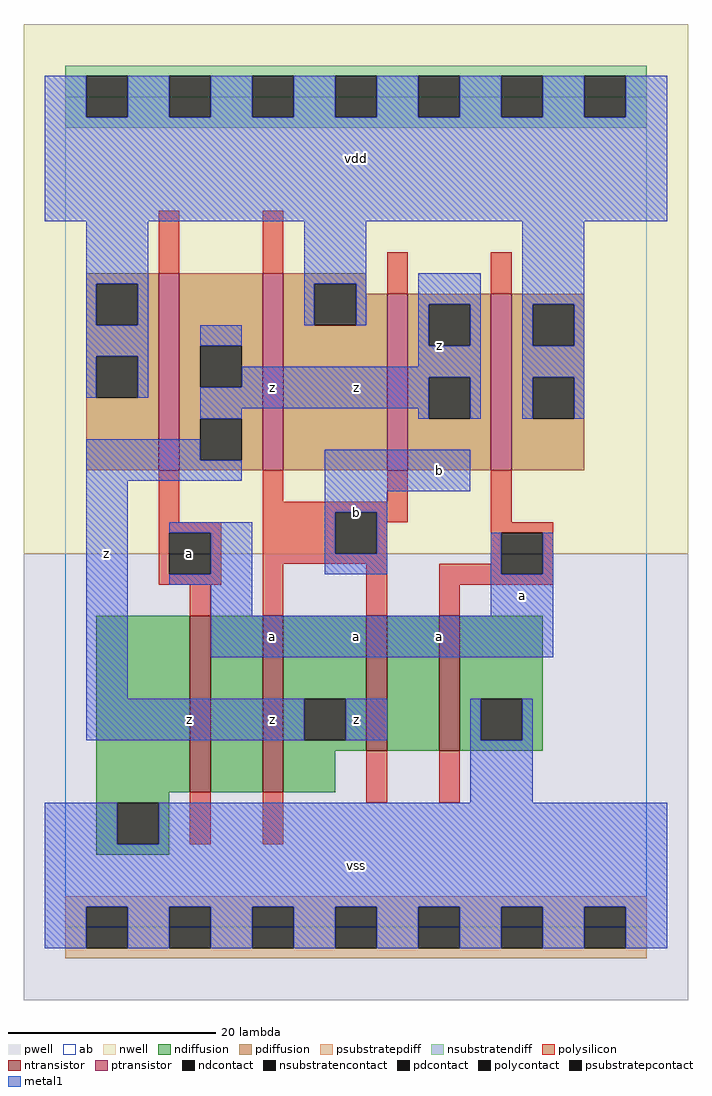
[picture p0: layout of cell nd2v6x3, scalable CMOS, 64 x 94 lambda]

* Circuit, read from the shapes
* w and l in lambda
.subckt nd2v6x3 a b vdd vss z
M1 n1 a vss vss nfet w=17 l=2
M2 z b n1 vss nfet w=17 l=2
M3 n2 b z vss nfet w=13 l=2
M4 vss a n2 vss nfet w=13 l=2
M5 z a vdd vdd pfet w=19 l=2
M6 vdd b z vdd pfet w=19 l=2
M7 z b vdd vdd pfet w=17 l=2
M8 vdd a z vdd pfet w=17 l=2
.ends

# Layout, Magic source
magic
tech scmos
<< ab >>
rect 0 0 56 80
<< pwell >>
rect -4 -7 60 36
<< nwell >>
rect -4 36 60 87
<< polysilicon >>
rect 9 63 11 69
rect 19 63 21 69
rect 31 61 33 65
rect 41 61 43 65
rect 9 39 11 44
rect 19 41 21 44
rect 31 41 33 44
rect 19 40 33 41
rect 9 38 15 39
rect 9 34 10 38
rect 14 34 15 38
rect 9 33 15 34
rect 19 36 26 40
rect 30 39 33 40
rect 41 39 43 44
rect 30 36 31 39
rect 19 35 31 36
rect 41 38 47 39
rect 41 35 42 38
rect 12 30 14 33
rect 19 30 21 35
rect 29 30 31 35
rect 36 34 42 35
rect 46 34 47 38
rect 36 33 47 34
rect 36 30 38 33
rect 12 8 14 13
rect 19 8 21 13
rect 29 12 31 17
rect 36 12 38 17
<< ndiffusion >>
rect 3 13 12 30
rect 14 13 19 30
rect 21 22 29 30
rect 21 18 23 22
rect 27 18 29 22
rect 21 17 29 18
rect 31 17 36 30
rect 38 22 46 30
rect 38 18 40 22
rect 44 18 46 22
rect 38 17 46 18
rect 21 13 26 17
rect 3 12 10 13
rect 3 8 5 12
rect 9 8 10 12
rect 3 7 10 8
<< pdiffusion >>
rect 2 62 9 63
rect 2 58 3 62
rect 7 58 9 62
rect 2 55 9 58
rect 2 51 3 55
rect 7 51 9 55
rect 2 44 9 51
rect 11 56 19 63
rect 11 52 13 56
rect 17 52 19 56
rect 11 49 19 52
rect 11 45 13 49
rect 17 45 19 49
rect 11 44 19 45
rect 21 62 29 63
rect 21 58 24 62
rect 28 61 29 62
rect 28 58 31 61
rect 21 44 31 58
rect 33 60 41 61
rect 33 56 35 60
rect 39 56 41 60
rect 33 53 41 56
rect 33 49 35 53
rect 39 49 41 53
rect 33 44 41 49
rect 43 60 50 61
rect 43 56 45 60
rect 49 56 50 60
rect 43 53 50 56
rect 43 49 45 53
rect 49 49 50 53
rect 43 44 50 49
<< metal1 >>
rect -2 78 2 82
rect 6 78 10 82
rect 14 78 18 82
rect 22 78 26 82
rect 30 78 34 82
rect 38 78 42 82
rect 46 78 50 82
rect 54 78 58 82
rect -2 68 58 78
rect 2 62 8 68
rect 2 58 3 62
rect 7 58 8 62
rect 23 62 29 68
rect 23 58 24 62
rect 28 58 29 62
rect 34 60 40 63
rect 2 55 8 58
rect 2 51 3 55
rect 7 51 8 55
rect 13 56 17 58
rect 34 56 35 60
rect 39 56 40 60
rect 34 54 40 56
rect 17 53 40 54
rect 17 52 35 53
rect 13 50 35 52
rect 13 49 17 50
rect 34 49 35 50
rect 39 49 40 53
rect 44 60 50 68
rect 44 56 45 60
rect 49 56 50 60
rect 44 53 50 56
rect 44 49 45 53
rect 49 49 50 53
rect 2 45 13 47
rect 2 43 17 45
rect 2 22 6 43
rect 25 42 39 46
rect 25 40 31 42
rect 10 38 18 39
rect 14 34 18 38
rect 25 36 26 40
rect 30 36 31 40
rect 25 34 31 36
rect 41 34 42 38
rect 46 34 47 38
rect 10 33 18 34
rect 14 30 18 33
rect 41 30 47 34
rect 14 26 47 30
rect 2 18 23 22
rect 27 18 31 22
rect 39 18 40 22
rect 44 18 45 22
rect 39 12 45 18
rect -2 8 5 12
rect 9 8 58 12
rect -2 2 58 8
rect -2 -2 2 2
rect 6 -2 10 2
rect 14 -2 18 2
rect 22 -2 26 2
rect 30 -2 34 2
rect 38 -2 42 2
rect 46 -2 50 2
rect 54 -2 58 2
<< ntransistor >>
rect 12 13 14 30
rect 19 13 21 30
rect 29 17 31 30
rect 36 17 38 30
<< ptransistor >>
rect 9 44 11 63
rect 19 44 21 63
rect 31 44 33 61
rect 41 44 43 61
<< polycontact >>
rect 10 34 14 38
rect 26 36 30 40
rect 42 34 46 38
<< ndcontact >>
rect 23 18 27 22
rect 40 18 44 22
rect 5 8 9 12
<< pdcontact >>
rect 3 58 7 62
rect 3 51 7 55
rect 13 52 17 56
rect 13 45 17 49
rect 24 58 28 62
rect 35 56 39 60
rect 35 49 39 53
rect 45 56 49 60
rect 45 49 49 53
<< psubstratepcontact >>
rect 2 -2 6 2
rect 10 -2 14 2
rect 18 -2 22 2
rect 26 -2 30 2
rect 34 -2 38 2
rect 42 -2 46 2
rect 50 -2 54 2
<< nsubstratencontact >>
rect 2 78 6 82
rect 10 78 14 82
rect 18 78 22 82
rect 26 78 30 82
rect 34 78 38 82
rect 42 78 46 82
rect 50 78 54 82
<< psubstratepdiff >>
rect 0 2 56 3
rect 0 -2 2 2
rect 6 -2 10 2
rect 14 -2 18 2
rect 22 -2 26 2
rect 30 -2 34 2
rect 38 -2 42 2
rect 46 -2 50 2
rect 54 -2 56 2
rect 0 -3 56 -2
<< nsubstratendiff >>
rect 0 82 56 83
rect 0 78 2 82
rect 6 78 10 82
rect 14 78 18 82
rect 22 78 26 82
rect 30 78 34 82
rect 38 78 42 82
rect 46 78 50 82
rect 54 78 56 82
rect 0 77 56 78
<< labels >>
rlabel metal1 4 36 4 36 6 z
rlabel metal1 12 20 12 20 6 z
rlabel polycontact 12 36 12 36 6 a
rlabel metal1 28 6 28 6 6 vss
rlabel metal1 20 20 20 20 6 z
rlabel metal1 20 28 20 28 6 a
rlabel metal1 28 28 28 28 6 a
rlabel metal1 28 20 28 20 6 z
rlabel metal1 28 40 28 40 6 b
rlabel metal1 28 52 28 52 6 z
rlabel metal1 20 52 20 52 6 z
rlabel metal1 28 74 28 74 6 vdd
rlabel metal1 36 28 36 28 6 a
rlabel metal1 44 32 44 32 6 a
rlabel metal1 36 44 36 44 6 b
rlabel metal1 36 56 36 56 6 z
<< end >>
